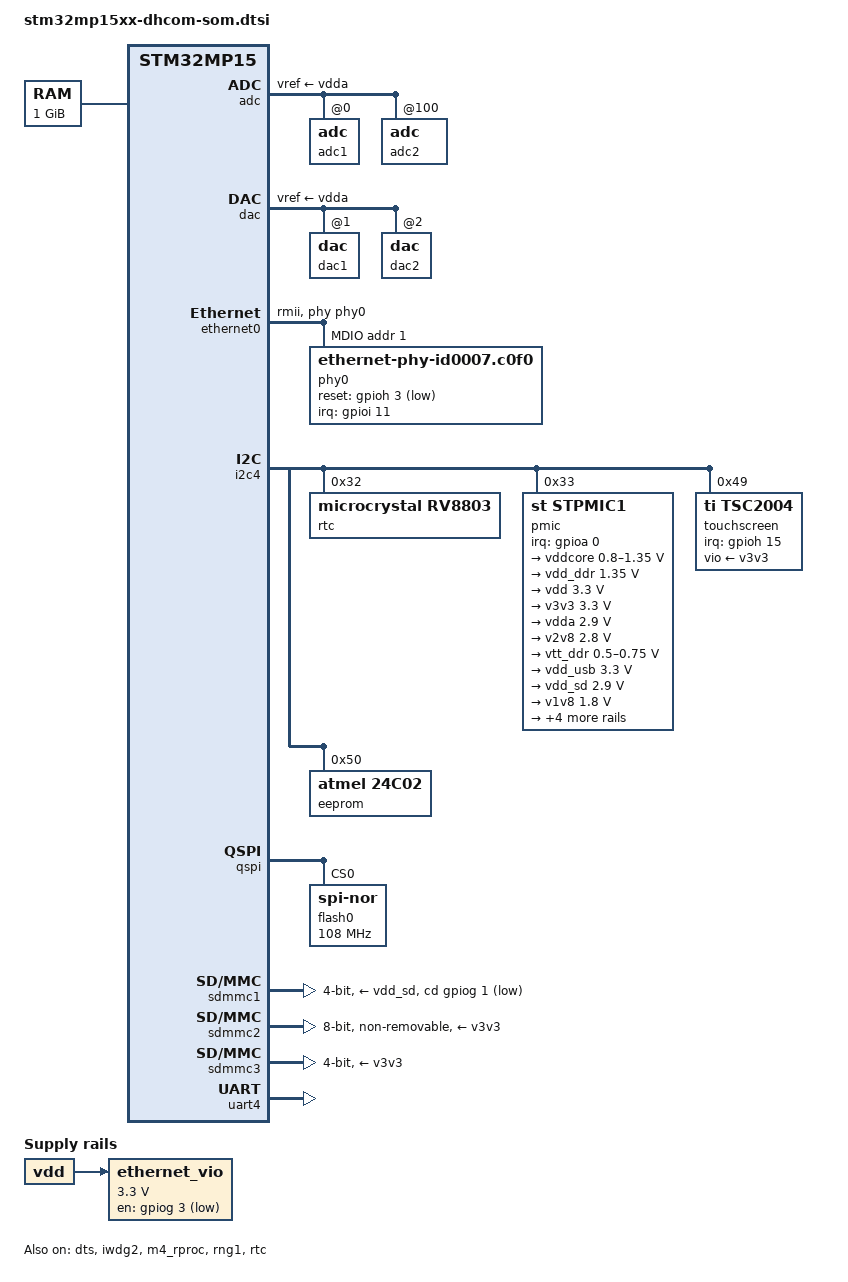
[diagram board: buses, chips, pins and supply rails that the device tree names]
// SPDX-License-Identifier: (GPL-2.0+ OR BSD-3-Clause)
/*
 * Copyright (C) 2019-2020 Marek Vasut <marex@denx.de>
 */

#include "stm32mp15-pinctrl.dtsi"
#include "stm32mp15xxaa-pinctrl.dtsi"
#include <dt-bindings/gpio/gpio.h>
#include <dt-bindings/mfd/st,stpmic1.h>

/ {
	aliases {
		ethernet0 = &ethernet0;
	};

	memory@c0000000 {
		device_type = "memory";
		reg = <0xC0000000 0x40000000>;
	};

	reserved-memory {
		#address-cells = <1>;
		#size-cells = <1>;
		ranges;

		mcuram2: mcuram2@10000000 {
			compatible = "shared-dma-pool";
			reg = <0x10000000 0x40000>;
			no-map;
		};

		vdev0vring0: vdev0vring0@10040000 {
			compatible = "shared-dma-pool";
			reg = <0x10040000 0x1000>;
			no-map;
		};

		vdev0vring1: vdev0vring1@10041000 {
			compatible = "shared-dma-pool";
			reg = <0x10041000 0x1000>;
			no-map;
		};

		vdev0buffer: vdev0buffer@10042000 {
			compatible = "shared-dma-pool";
			reg = <0x10042000 0x4000>;
			no-map;
		};

		mcuram: mcuram@30000000 {
			compatible = "shared-dma-pool";
			reg = <0x30000000 0x40000>;
			no-map;
		};

		retram: retram@38000000 {
			compatible = "shared-dma-pool";
			reg = <0x38000000 0x10000>;
			no-map;
		};
	};

	ethernet_vio: vioregulator {
		compatible = "regulator-fixed";
		regulator-name = "vio";
		regulator-min-microvolt = <3300000>;
		regulator-max-microvolt = <3300000>;
		gpio = <&gpiog 3 GPIO_ACTIVE_LOW>;
		regulator-always-on;
		regulator-boot-on;
		vin-supply = <&vdd>;
	};
};

&adc {
	vdd-supply = <&vdd>;
	vdda-supply = <&vdda>;
	vref-supply = <&vdda>;
	status = "okay";

	adc1: adc@0 {
		st,min-sample-time-nsecs = <5000>;
		st,adc-channels = <0>;
		status = "okay";
	};

	adc2: adc@100 {
		st,adc-channels = <1>;
		st,min-sample-time-nsecs = <5000>;
		status = "okay";
	};
};

&dac {
	pinctrl-names = "default";
	pinctrl-0 = <&dac_ch1_pins_a &dac_ch2_pins_a>;
	vref-supply = <&vdda>;
	status = "okay";

	dac1: dac@1 {
		status = "okay";
	};
	dac2: dac@2 {
		status = "okay";
	};
};

&dts {
	status = "okay";
};

&ethernet0 {
	status = "okay";
	pinctrl-0 = <&ethernet0_rmii_pins_a>;
	pinctrl-1 = <&ethernet0_rmii_sleep_pins_a>;
	pinctrl-names = "default", "sleep";
	phy-mode = "rmii";
	max-speed = <100>;
	phy-handle = <&phy0>;
	st,eth-ref-clk-sel;

	mdio0 {
		#address-cells = <1>;
		#size-cells = <0>;
		compatible = "snps,dwmac-mdio";

		phy0: ethernet-phy@1 {
			reg = <1>;
			/* LAN8710Ai */
			compatible = "ethernet-phy-id0007.c0f0",
				     "ethernet-phy-ieee802.3-c22";
			clocks = <&rcc ETHCK_K>;
			reset-gpios = <&gpioh 3 GPIO_ACTIVE_LOW>;
			reset-assert-us = <500>;
			reset-deassert-us = <500>;
			interrupt-parent = <&gpioi>;
			interrupts = <11 IRQ_TYPE_LEVEL_LOW>;
		};
	};
};

&i2c4 {
	pinctrl-names = "default";
	pinctrl-0 = <&i2c4_pins_a>;
	i2c-scl-rising-time-ns = <185>;
	i2c-scl-falling-time-ns = <20>;
	status = "okay";
	/* spare dmas for other usage */
	/delete-property/dmas;
	/delete-property/dma-names;

	rtc@32 {
		compatible = "microcrystal,rv8803";
		reg = <0x32>;
	};

	pmic: stpmic@33 {
		compatible = "st,stpmic1";
		reg = <0x33>;
		interrupts-extended = <&gpioa 0 IRQ_TYPE_EDGE_FALLING>;
		interrupt-controller;
		#interrupt-cells = <2>;
		status = "okay";

		regulators {
			compatible = "st,stpmic1-regulators";
			ldo1-supply = <&v3v3>;
			ldo2-supply = <&v3v3>;
			ldo3-supply = <&vdd_ddr>;
			ldo5-supply = <&v3v3>;
			ldo6-supply = <&v3v3>;
			pwr_sw1-supply = <&bst_out>;
			pwr_sw2-supply = <&bst_out>;

			vddcore: buck1 {
				regulator-name = "vddcore";
				regulator-min-microvolt = <800000>;
				regulator-max-microvolt = <1350000>;
				regulator-always-on;
				regulator-initial-mode = <0>;
				regulator-over-current-protection;
			};

			vdd_ddr: buck2 {
				regulator-name = "vdd_ddr";
				regulator-min-microvolt = <1350000>;
				regulator-max-microvolt = <1350000>;
				regulator-always-on;
				regulator-initial-mode = <0>;
				regulator-over-current-protection;
			};

			vdd: buck3 {
				regulator-name = "vdd";
				regulator-min-microvolt = <3300000>;
				regulator-max-microvolt = <3300000>;
				regulator-always-on;
				st,mask-reset;
				regulator-initial-mode = <0>;
				regulator-over-current-protection;
			};

			v3v3: buck4 {
				regulator-name = "v3v3";
				regulator-min-microvolt = <3300000>;
				regulator-max-microvolt = <3300000>;
				regulator-always-on;
				regulator-over-current-protection;
				regulator-initial-mode = <0>;
			};

			vdda: ldo1 {
				regulator-name = "vdda";
				regulator-always-on;
				regulator-min-microvolt = <2900000>;
				regulator-max-microvolt = <2900000>;
				interrupts = <IT_CURLIM_LDO1 0>;
			};

			v2v8: ldo2 {
				regulator-name = "v2v8";
				regulator-min-microvolt = <2800000>;
				regulator-max-microvolt = <2800000>;
				interrupts = <IT_CURLIM_LDO2 0>;
			};

			vtt_ddr: ldo3 {
				regulator-name = "vtt_ddr";
				regulator-min-microvolt = <500000>;
				regulator-max-microvolt = <750000>;
				regulator-always-on;
				regulator-over-current-protection;
			};

			vdd_usb: ldo4 {
				regulator-name = "vdd_usb";
				regulator-min-microvolt = <3300000>;
				regulator-max-microvolt = <3300000>;
				interrupts = <IT_CURLIM_LDO4 0>;
			};

			vdd_sd: ldo5 {
				regulator-name = "vdd_sd";
				regulator-min-microvolt = <2900000>;
				regulator-max-microvolt = <2900000>;
				interrupts = <IT_CURLIM_LDO5 0>;
				regulator-boot-on;
			};

			v1v8: ldo6 {
				regulator-name = "v1v8";
				regulator-min-microvolt = <1800000>;
				regulator-max-microvolt = <1800000>;
				interrupts = <IT_CURLIM_LDO6 0>;
			};

			vref_ddr: vref_ddr {
				regulator-name = "vref_ddr";
				regulator-always-on;
				regulator-over-current-protection;
			};

			bst_out: boost {
				regulator-name = "bst_out";
				interrupts = <IT_OCP_BOOST 0>;
			};

			vbus_otg: pwr_sw1 {
				regulator-name = "vbus_otg";
				interrupts = <IT_OCP_OTG 0>;
			};

			vbus_sw: pwr_sw2 {
				regulator-name = "vbus_sw";
				interrupts = <IT_OCP_SWOUT 0>;
				regulator-active-discharge;
			};
		};

		onkey {
			compatible = "st,stpmic1-onkey";
			interrupts = <IT_PONKEY_F 0>, <IT_PONKEY_R 0>;
			interrupt-names = "onkey-falling", "onkey-rising";
			power-off-time-sec = <10>;
			status = "okay";
		};

		watchdog {
			compatible = "st,stpmic1-wdt";
			status = "disabled";
		};
	};

	touchscreen@49 {
		compatible = "ti,tsc2004";
		reg = <0x49>;
		vio-supply = <&v3v3>;
		interrupts-extended = <&gpioh 15 IRQ_TYPE_EDGE_FALLING>;
	};

	eeprom@50 {
		compatible = "atmel,24c02";
		reg = <0x50>;
		pagesize = <16>;
	};
};

&ipcc {
	status = "okay";
};

&iwdg2 {
	timeout-sec = <32>;
	status = "okay";
};

&m4_rproc {
	memory-region = <&retram>, <&mcuram>, <&mcuram2>, <&vdev0vring0>,
			<&vdev0vring1>, <&vdev0buffer>;
	mboxes = <&ipcc 0>, <&ipcc 1>, <&ipcc 2>;
	mbox-names = "vq0", "vq1", "shutdown";
	interrupt-parent = <&exti>;
	interrupts = <68 1>;
	status = "okay";
};

&pwr_regulators {
	vdd-supply = <&vdd>;
	vdd_3v3_usbfs-supply = <&vdd_usb>;
};

&qspi {
	pinctrl-names = "default", "sleep";
	pinctrl-0 = <&qspi_clk_pins_a &qspi_bk1_pins_a>;
	pinctrl-1 = <&qspi_clk_sleep_pins_a &qspi_bk1_sleep_pins_a>;
	reg = <0x58003000 0x1000>, <0x70000000 0x4000000>;
	#address-cells = <1>;
	#size-cells = <0>;
	status = "okay";

	flash0: flash@0 {
		compatible = "jedec,spi-nor";
		reg = <0>;
		spi-rx-bus-width = <4>;
		spi-max-frequency = <108000000>;
		#address-cells = <1>;
		#size-cells = <1>;
	};
};

&rng1 {
	status = "okay";
};

&rtc {
	status = "okay";
};

&sdmmc1 {
	pinctrl-names = "default", "opendrain", "sleep";
	pinctrl-0 = <&sdmmc1_b4_pins_a &sdmmc1_dir_pins_a>;
	pinctrl-1 = <&sdmmc1_b4_od_pins_a &sdmmc1_dir_pins_a>;
	pinctrl-2 = <&sdmmc1_b4_sleep_pins_a &sdmmc1_dir_sleep_pins_a>;
	cd-gpios = <&gpiog 1 (GPIO_ACTIVE_LOW | GPIO_PULL_UP)>;
	disable-wp;
	st,sig-dir;
	st,neg-edge;
	st,use-ckin;
	bus-width = <4>;
	vmmc-supply = <&vdd_sd>;
	status = "okay";
};

&sdmmc2 {
	pinctrl-names = "default", "opendrain", "sleep";
	pinctrl-0 = <&sdmmc2_b4_pins_a &sdmmc2_d47_pins_a>;
	pinctrl-1 = <&sdmmc2_b4_od_pins_a &sdmmc2_d47_pins_a>;
	pinctrl-2 = <&sdmmc2_b4_sleep_pins_a &sdmmc2_d47_sleep_pins_a>;
	non-removable;
	no-sd;
	no-sdio;
	st,neg-edge;
	bus-width = <8>;
	vmmc-supply = <&v3v3>;
	vqmmc-supply = <&v3v3>;
	mmc-ddr-3_3v;
	status = "okay";
};

&sdmmc3 {
	pinctrl-names = "default", "opendrain", "sleep";
	pinctrl-0 = <&sdmmc3_b4_pins_a>;
	pinctrl-1 = <&sdmmc3_b4_od_pins_a>;
	pinctrl-2 = <&sdmmc3_b4_sleep_pins_a>;
	broken-cd;
	st,neg-edge;
	bus-width = <4>;
	vmmc-supply = <&v3v3>;
	vqmmc-supply = <&v3v3>;
	mmc-ddr-3_3v;
	status = "okay";
};

&uart4 {
	pinctrl-names = "default";
	pinctrl-0 = <&uart4_pins_a>;
	status = "okay";
};
